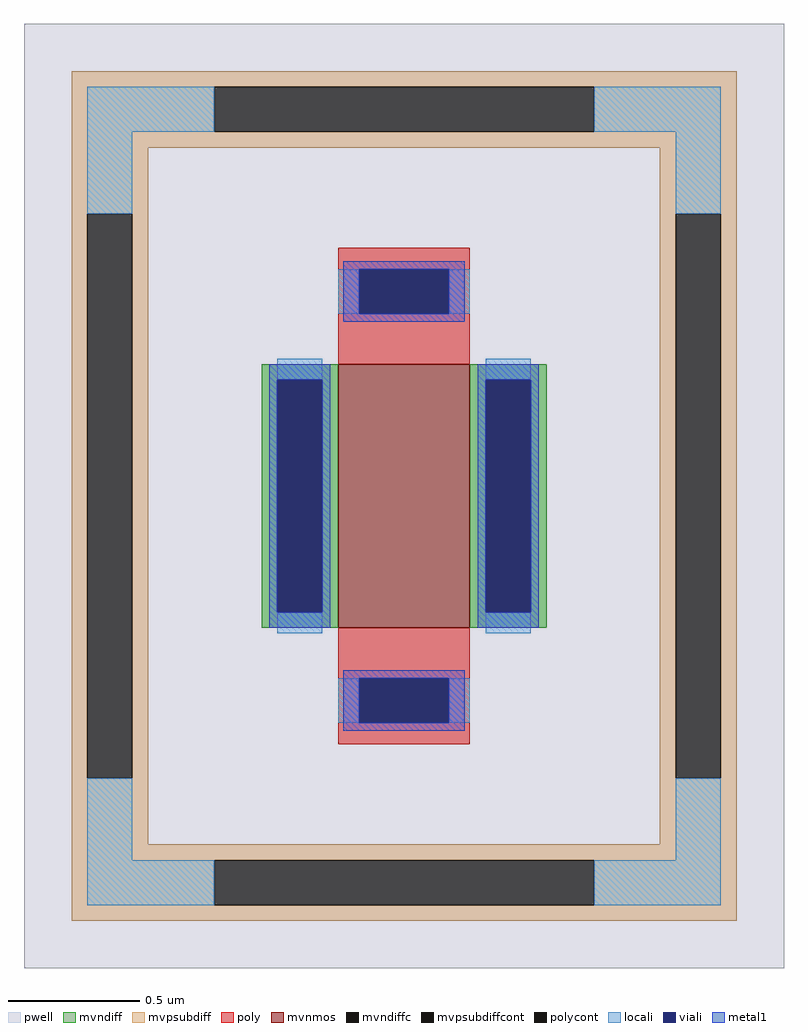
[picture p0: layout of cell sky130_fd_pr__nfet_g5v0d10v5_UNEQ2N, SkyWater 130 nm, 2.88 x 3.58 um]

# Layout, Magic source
magic
tech sky130A
<< pwell >>
rect -144 -179 144 179
<< mvnmos >>
rect -25 -50 25 50
<< mvndiff >>
rect -54 44 -25 50
rect -54 -44 -48 44
rect -31 -44 -25 44
rect -54 -50 -25 -44
rect 25 44 54 50
rect 25 -44 31 44
rect 48 -44 54 44
rect 25 -50 54 -44
<< mvndiffc >>
rect -48 -44 -31 44
rect 31 -44 48 44
<< mvpsubdiff >>
rect -126 155 126 161
rect -126 138 -72 155
rect 72 138 126 155
rect -126 132 126 138
rect -126 107 -97 132
rect -126 -107 -120 107
rect -103 -107 -97 107
rect 97 107 126 132
rect -126 -132 -97 -107
rect 97 -107 103 107
rect 120 -107 126 107
rect 97 -132 126 -107
rect -126 -138 126 -132
rect -126 -155 -72 -138
rect 72 -155 126 -138
rect -126 -161 126 -155
<< mvpsubdiffcont >>
rect -72 138 72 155
rect -120 -107 -103 107
rect 103 -107 120 107
rect -72 -155 72 -138
<< poly >>
rect -25 86 25 94
rect -25 69 -17 86
rect 17 69 25 86
rect -25 50 25 69
rect -25 -69 25 -50
rect -25 -86 -17 -69
rect 17 -86 25 -69
rect -25 -94 25 -86
<< polycont >>
rect -17 69 17 86
rect -17 -86 17 -69
<< locali >>
rect -120 138 -72 155
rect 72 138 120 155
rect -120 107 -103 138
rect 103 107 120 138
rect -25 69 -17 86
rect 17 69 25 86
rect -48 44 -31 52
rect -48 -52 -31 -44
rect 31 44 48 52
rect 31 -52 48 -44
rect -25 -86 -17 -69
rect 17 -86 25 -69
rect -120 -138 -103 -107
rect 103 -138 120 -107
rect -120 -155 -72 -138
rect 72 -155 120 -138
<< viali >>
rect -17 69 17 86
rect -48 -44 -31 44
rect 31 -44 48 44
rect -17 -86 17 -69
<< metal1 >>
rect -23 86 23 89
rect -23 69 -17 86
rect 17 69 23 86
rect -23 66 23 69
rect -51 44 -28 50
rect -51 -44 -48 44
rect -31 -44 -28 44
rect -51 -50 -28 -44
rect 28 44 51 50
rect 28 -44 31 44
rect 48 -44 51 44
rect 28 -50 51 -44
rect -23 -69 23 -66
rect -23 -86 -17 -69
rect 17 -86 23 -69
rect -23 -89 23 -86
<< properties >>
string FIXED_BBOX -106 -146 106 146
string gencell sky130_fd_pr__nfet_g5v0d10v5
string library sky130
string parameters w 1.0 l 0.5 m 1 nf 1 diffcov 100 polycov 100 guard 1 glc 1 grc 1 gtc 1 gbc 1 tbcov 100 rlcov 100 topc 1 botc 1 poverlap 0 doverlap 1 lmin 0.50 wmin 0.42 compatible {sky130_fd_pr__nfet_01v8 sky130_fd_pr__nfet_01v8_lvt  sky130_fd_bs_flash__special_sonosfet_star  sky130_fd_pr__nfet_g5v0d10v5 sky130_fd_pr__nfet_05v0_nvt  sky130_fd_pr__nfet_03v3_nvt} full_metal 1 viasrc 100 viadrn 100 viagate 100 viagb 0 viagr 0 viagl 0 viagt 0
<< end >>
